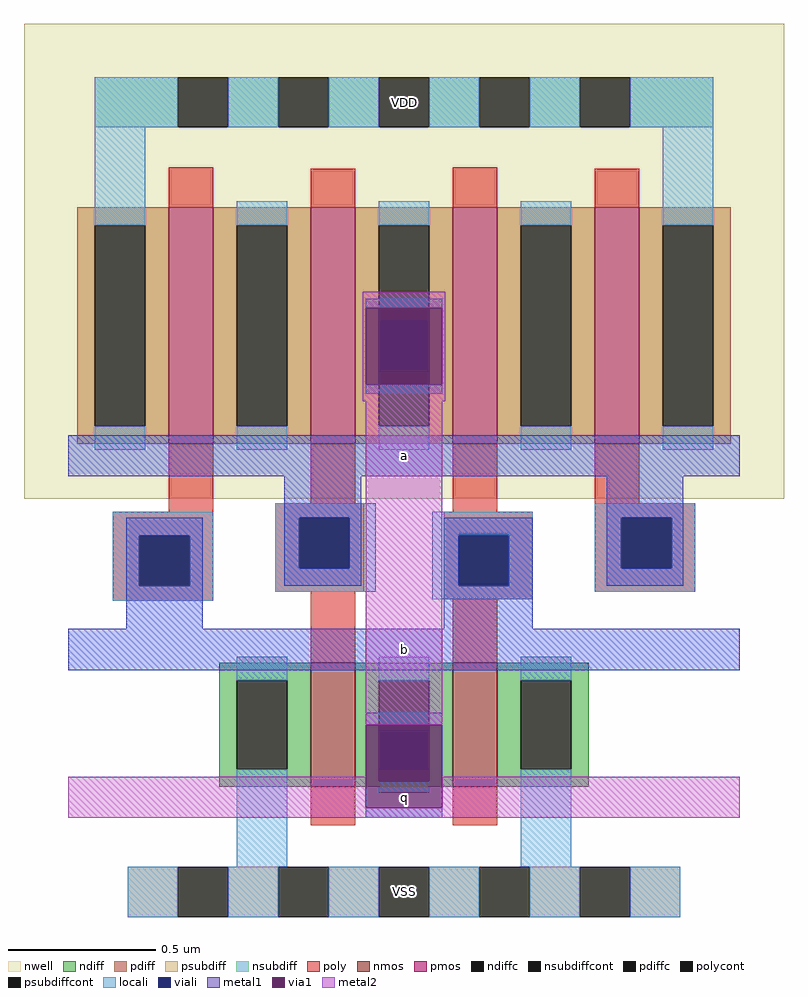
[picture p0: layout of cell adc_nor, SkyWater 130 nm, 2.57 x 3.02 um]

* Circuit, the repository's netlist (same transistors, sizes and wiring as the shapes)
** sch_path: /foss/designs/SKY130_SAR-ADC/xschem/adc_nor.sch
.subckt adc_nor VDD VSS b a q
*.PININFO VDD:B VSS:B b:I a:I q:O
XM5 q b VSS VSS sky130_fd_pr__nfet_01v8 L=0.15 W=0.42 nf=1 ad='int((nf+1)/2) * W/nf * 0.29' as='int((nf+2)/2) * W/nf * 0.29'
+ pd='2*int((nf+1)/2) * (W/nf + 0.29)' ps='2*int((nf+2)/2) * (W/nf + 0.29)' nrd='0.29 / W' nrs='0.29 / W'
+ sa=0 sb=0 sd=0 mult=1 m=1
XM6 q a VSS VSS sky130_fd_pr__nfet_01v8 L=0.15 W=0.42 nf=1 ad='int((nf+1)/2) * W/nf * 0.29' as='int((nf+2)/2) * W/nf * 0.29'
+ pd='2*int((nf+1)/2) * (W/nf + 0.29)' ps='2*int((nf+2)/2) * (W/nf + 0.29)' nrd='0.29 / W' nrs='0.29 / W'
+ sa=0 sb=0 sd=0 mult=1 m=1
XM1 q b net1 VDD sky130_fd_pr__pfet_01v8 L=0.15 W=0.8 nf=1 ad='int((nf+1)/2) * W/nf * 0.29' as='int((nf+2)/2) * W/nf * 0.29'
+ pd='2*int((nf+1)/2) * (W/nf + 0.29)' ps='2*int((nf+2)/2) * (W/nf + 0.29)' nrd='0.29 / W' nrs='0.29 / W'
+ sa=0 sb=0 sd=0 mult=1 m=1
XM2 q a net2 VDD sky130_fd_pr__pfet_01v8 L=0.15 W=0.8 nf=1 ad='int((nf+1)/2) * W/nf * 0.29' as='int((nf+2)/2) * W/nf * 0.29'
+ pd='2*int((nf+1)/2) * (W/nf + 0.29)' ps='2*int((nf+2)/2) * (W/nf + 0.29)' nrd='0.29 / W' nrs='0.29 / W'
+ sa=0 sb=0 sd=0 mult=1 m=1
XM3 net2 b VDD VDD sky130_fd_pr__pfet_01v8 L=0.15 W=0.8 nf=1 ad='int((nf+1)/2) * W/nf * 0.29' as='int((nf+2)/2) * W/nf * 0.29'
+ pd='2*int((nf+1)/2) * (W/nf + 0.29)' ps='2*int((nf+2)/2) * (W/nf + 0.29)' nrd='0.29 / W' nrs='0.29 / W'
+ sa=0 sb=0 sd=0 mult=1 m=1
XM4 net1 a VDD VDD sky130_fd_pr__pfet_01v8 L=0.15 W=0.8 nf=1 ad='int((nf+1)/2) * W/nf * 0.29' as='int((nf+2)/2) * W/nf * 0.29'
+ pd='2*int((nf+1)/2) * (W/nf + 0.29)' ps='2*int((nf+2)/2) * (W/nf + 0.29)' nrd='0.29 / W' nrs='0.29 / W'
+ sa=0 sb=0 sd=0 mult=1 m=1
.ends
.end

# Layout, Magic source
magic
tech sky130A
magscale 1 2
<< nwell >>
rect -8 69 506 390
<< nmos >>
rect 186 -126 216 -42
rect 282 -126 312 -42
<< pmos >>
rect 90 106 120 266
rect 186 106 216 266
rect 282 106 312 266
rect 378 106 408 266
<< ndiff >>
rect 124 -54 186 -42
rect 124 -114 136 -54
rect 170 -114 186 -54
rect 124 -126 186 -114
rect 216 -54 282 -42
rect 216 -114 232 -54
rect 266 -114 282 -54
rect 216 -126 282 -114
rect 312 -54 374 -42
rect 312 -114 328 -54
rect 362 -114 374 -54
rect 312 -126 374 -114
<< pdiff >>
rect 28 254 90 266
rect 28 118 40 254
rect 74 118 90 254
rect 28 106 90 118
rect 120 254 186 266
rect 120 118 136 254
rect 170 118 186 254
rect 120 106 186 118
rect 216 254 282 266
rect 216 118 232 254
rect 266 118 282 254
rect 216 106 282 118
rect 312 254 378 266
rect 312 118 328 254
rect 362 118 378 254
rect 312 106 378 118
rect 408 254 470 266
rect 408 118 424 254
rect 458 118 470 254
rect 408 106 470 118
<< ndiffc >>
rect 136 -114 170 -54
rect 232 -114 266 -54
rect 328 -114 362 -54
<< pdiffc >>
rect 40 118 74 254
rect 136 118 170 254
rect 232 118 266 254
rect 328 118 362 254
rect 424 118 458 254
<< psubdiff >>
rect 62 -214 96 -180
rect 130 -214 164 -180
rect 198 -214 232 -180
rect 266 -214 300 -180
rect 334 -214 368 -180
rect 402 -214 436 -180
<< nsubdiff >>
rect 40 320 96 354
rect 130 320 164 354
rect 198 320 232 354
rect 266 320 300 354
rect 334 320 368 354
rect 402 320 458 354
<< psubdiffcont >>
rect 96 -214 130 -180
rect 164 -214 198 -180
rect 232 -214 266 -180
rect 300 -214 334 -180
rect 368 -214 402 -180
<< nsubdiffcont >>
rect 96 320 130 354
rect 164 320 198 354
rect 232 320 266 354
rect 300 320 334 354
rect 368 320 402 354
<< poly >>
rect 90 266 120 293
rect 186 266 216 292
rect 282 266 312 293
rect 378 266 408 292
rect 90 60 120 106
rect 186 66 216 106
rect 52 44 120 60
rect 52 10 70 44
rect 104 10 120 44
rect 52 0 120 10
rect 162 56 222 66
rect 282 60 312 106
rect 378 66 408 106
rect 162 22 178 56
rect 212 22 222 56
rect 162 6 222 22
rect 276 45 336 60
rect 276 11 286 45
rect 320 11 336 45
rect 186 -42 216 6
rect 276 1 336 11
rect 378 56 446 66
rect 378 22 396 56
rect 430 22 446 56
rect 378 6 446 22
rect 282 -42 312 1
rect 186 -152 216 -126
rect 282 -152 312 -126
<< polycont >>
rect 70 10 104 44
rect 178 22 212 56
rect 286 11 320 45
rect 396 22 430 56
<< locali >>
rect 40 320 96 354
rect 130 320 164 354
rect 198 320 232 354
rect 266 320 300 354
rect 334 320 368 354
rect 402 320 458 354
rect 40 254 74 320
rect 40 102 74 118
rect 136 254 170 270
rect 136 102 170 118
rect 232 254 266 270
rect 232 102 266 118
rect 328 254 362 270
rect 328 102 362 118
rect 424 254 458 320
rect 424 102 458 118
rect 52 44 120 60
rect 52 10 70 44
rect 104 10 120 44
rect 52 0 120 10
rect 162 56 230 66
rect 162 22 178 56
rect 212 22 230 56
rect 162 6 230 22
rect 268 45 336 60
rect 268 10 286 45
rect 320 10 336 45
rect 268 1 336 10
rect 378 56 446 66
rect 378 22 396 56
rect 430 22 446 56
rect 378 6 446 22
rect 136 -54 170 -38
rect 136 -180 170 -114
rect 232 -54 266 -38
rect 232 -130 266 -122
rect 328 -54 362 -38
rect 328 -180 362 -114
rect 62 -214 96 -180
rect 130 -214 164 -180
rect 198 -214 232 -180
rect 266 -214 300 -180
rect 334 -214 368 -180
rect 402 -214 436 -180
<< viali >>
rect 232 155 266 189
rect 70 10 104 44
rect 178 22 212 56
rect 286 11 320 44
rect 286 10 320 11
rect 396 22 430 56
rect 232 -114 266 -88
rect 232 -122 266 -114
<< metal1 >>
rect 223 198 275 204
rect 223 140 275 146
rect 22 84 476 112
rect 168 56 220 84
rect 386 56 438 84
rect 61 44 113 56
rect 61 10 70 44
rect 104 10 113 44
rect 168 22 178 56
rect 212 22 220 56
rect 168 10 220 22
rect 276 44 336 56
rect 276 10 286 44
rect 320 10 336 44
rect 386 22 396 56
rect 430 22 438 56
rect 386 10 438 22
rect 61 -19 113 10
rect 276 -19 336 10
rect 22 -47 476 -19
rect 223 -84 275 -76
rect 223 -147 275 -140
<< via1 >>
rect 223 189 275 198
rect 223 155 232 189
rect 232 155 266 189
rect 266 155 275 189
rect 223 146 275 155
rect 223 -88 275 -84
rect 223 -122 232 -88
rect 232 -122 266 -88
rect 266 -122 275 -88
rect 223 -140 275 -122
<< metal2 >>
rect 221 198 277 209
rect 221 146 223 198
rect 275 146 277 198
rect 221 135 277 146
rect 223 -84 275 135
rect 22 -140 223 -119
rect 275 -140 476 -119
rect 22 -147 476 -140
<< labels >>
flabel metal2 22 -147 476 -119 0 FreeSans 160 0 0 0 q
port 5 nsew
flabel metal1 22 84 476 112 0 FreeSans 160 0 0 0 a
port 6 nsew
flabel metal1 22 -47 476 -19 0 FreeSans 160 0 0 0 b
port 7 nsew
flabel locali 62 -214 436 -180 0 FreeSans 160 0 0 0 VSS
port 8 nsew
flabel locali 40 320 458 354 0 FreeSans 160 0 0 0 VDD
port 10 nsew
<< end >>
